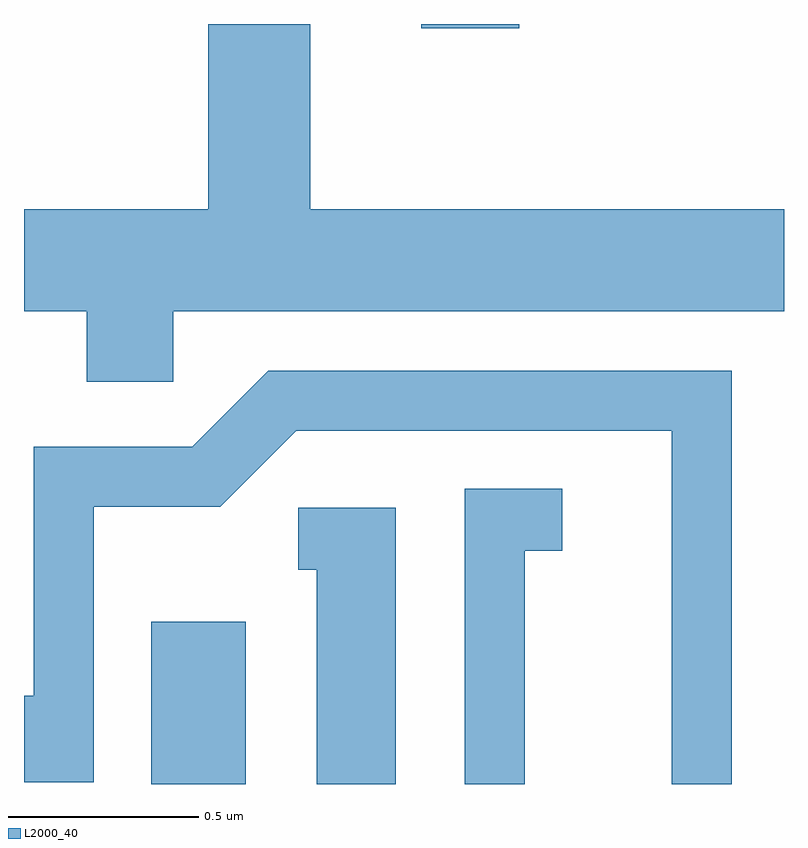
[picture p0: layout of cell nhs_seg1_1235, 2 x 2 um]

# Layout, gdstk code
import gdstk
lib = gdstk.Library(unit=1e-6, precision=1e-09)
def R(c, l, rs):  # rectangles x0, y0, x1, y1
    for r in rs: c.add(gdstk.rectangle(r[:2], r[2:], *l))
def P(c, l, *ps):  # polygons
    for p in ps: c.add(gdstk.Polygon(p, *l))
L2000_40 = (2000, 40)

nhs_seg1_1235 = lib.new_cell('nhs_seg1_1235')
R(nhs_seg1_1235, L2000_40, [(194.946,851.712,195.194,852.139), (195.656,853.701,195.914,853.712)])
P(nhs_seg1_1235, L2000_40, [(195.004,852.956),(196.611,852.956),(196.611,853.224),(195.364,853.224),(195.364,853.712),(195.096,853.712),(195.096,853.224),(194.611,853.224),(194.611,852.956),(194.776,852.956),(194.776,852.771),(195.004,852.771)],
  [(196.474,852.799),(195.254,852.799),(195.054,852.599),(194.636,852.599),(194.636,851.944),(194.611,851.944),(194.611,851.716),(194.794,851.716),(194.794,852.441),(195.127,852.441),(195.327,852.641),(196.316,852.641),(196.316,851.712),(196.474,851.712)],
  [(195.929,852.326),(196.028,852.326),(196.028,852.489),(195.771,852.489),(195.771,851.712),(195.929,851.712)],
  [(195.589,852.439),(195.333,852.439),(195.333,852.276),(195.381,852.276),(195.381,851.712),(195.589,851.712)])

lib.write_gds('nhs_seg1_1235.gds')
